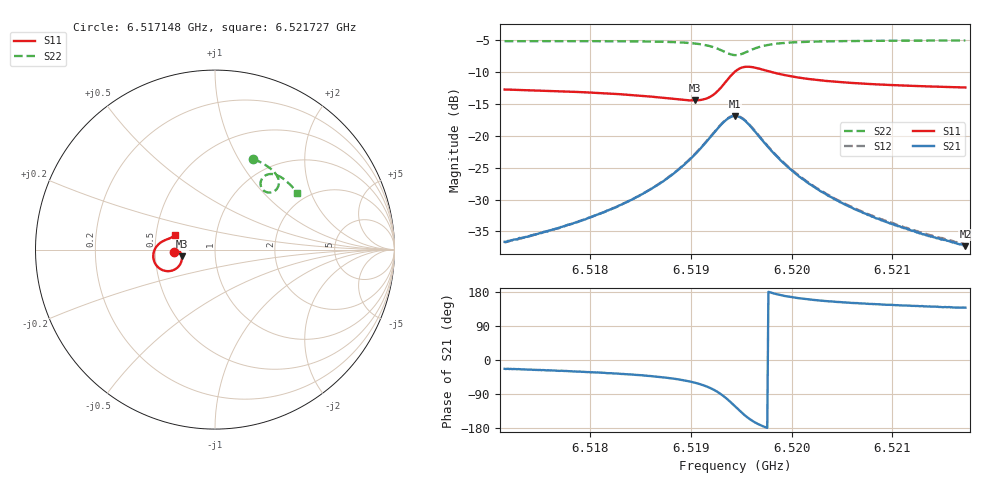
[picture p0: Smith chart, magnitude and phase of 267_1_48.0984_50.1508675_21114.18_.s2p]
#  HZ  S  RI  R  50.00
! Rohde & Schwarz Vector Network Analyzer
! Rohde-Schwarz,ZNB20-2Port,1311601062101988,3.16
! Created: UTC 12/23/2023, 4:01:22 AM
! freq[Hz]  re:S11  im:S11  re:S21  im:S21  re:S12  im:S12  re:S22  im:S22
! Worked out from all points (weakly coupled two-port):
!   401 points, 6.517148 GHz to 6.521727 GHz, reference 50 ohm
!   highest |S21| = -16.92 dB at 6.519438 GHz (marker M1); lowest = -37.3 dB at 6.521727 GHz (marker M2)
!   lowest |S11| = -14.5 dB at 6.519037 GHz (marker M3), VSWR 1.46, Z = 34.3 - j2.6 ohm
!   |S11| at or under -10 dB: start of sweep to 6.519436 GHz; 6.519791 GHz to end of sweep
!   |S22| runs from -7.4 to -5.1 dB; largest |S21 - S12| = 0.0043
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6.5171485e9  -0.2292 -0.0141  0.0135 -0.00582  0.0137 -0.00535  0.2139 0.5053
6.5175949e9  -0.2239 -0.00782  0.0161 -0.00834  0.0163 -0.00775  0.2466 0.4905
6.5179153e9  -0.219 -0.00437  0.0186 -0.0113  0.019 -0.0106  0.2701 0.4777
6.5183274e9  -0.2102 -0.00299  0.0235 -0.0175  0.024 -0.0169  0.3012 0.4576
6.5186822e9  -0.1992 -0.0084  0.0298 -0.0293  0.0309 -0.0286  0.3288 0.4332
6.5188654e9  -0.1916 -0.0177  0.0339 -0.0413  0.0352 -0.0404  0.343 0.4151
6.519037e9  -0.185 -0.0365  0.0357 -0.0614  0.0378 -0.0606  0.3539 0.39
6.5191401e9  -0.1851 -0.0566  0.0323 -0.0809  0.0349 -0.0806  0.3558 0.3682
6.5192202e9  -0.1926 -0.079  0.0222 -0.1008  0.0253 -0.101  0.3503 0.3476
6.5193461e9  -0.237 -0.1163  -0.023 -0.1301  -0.0194 -0.132  0.3154 0.3189
6.5193919e9  -0.2658 -0.1201  -0.0493 -0.1304  -0.046 -0.1331  0.2946 0.3183
6.5194376e9  -0.2965 -0.1123  -0.0762 -0.1204  -0.0732 -0.1236  0.2741 0.327
6.5194949e9  -0.3273 -0.0869  -0.1007 -0.0949  -0.0988 -0.0985  0.2573 0.3487
6.5195636e9  -0.3434 -0.0474  -0.1104 -0.0587  -0.1096 -0.0624  0.2548 0.3785
6.5196551e9  -0.338 -0.00427  -0.1009 -0.0226  -0.1012 -0.0257  0.2708 0.4057
6.5197467e9  -0.3224 0.0216  -0.0849 -0.00289  -0.0855 -0.00547  0.2916 0.4179
6.5199642e9  -0.2905 0.0469  -0.0554 0.0123  -0.0562 0.011  0.3312 0.4192
6.5202045e9  -0.2697 0.0562  -0.0379 0.0147  -0.0386 0.0137  0.3601 0.4081
6.5205365e9  -0.2529 0.0626  -0.0253 0.0135  -0.0261 0.013  0.3883 0.3892
6.5209714e9  -0.2397 0.0687  -0.0171 0.0116  -0.0176 0.0115  0.4172 0.3632
6.5213606e9  -0.2313 0.0741  -0.0127 0.0102  -0.0134 0.0101  0.4389 0.3395
6.5217268e9  -0.2247 0.079  -0.0101 0.00911  -0.0107 0.00916  0.457 0.3168
